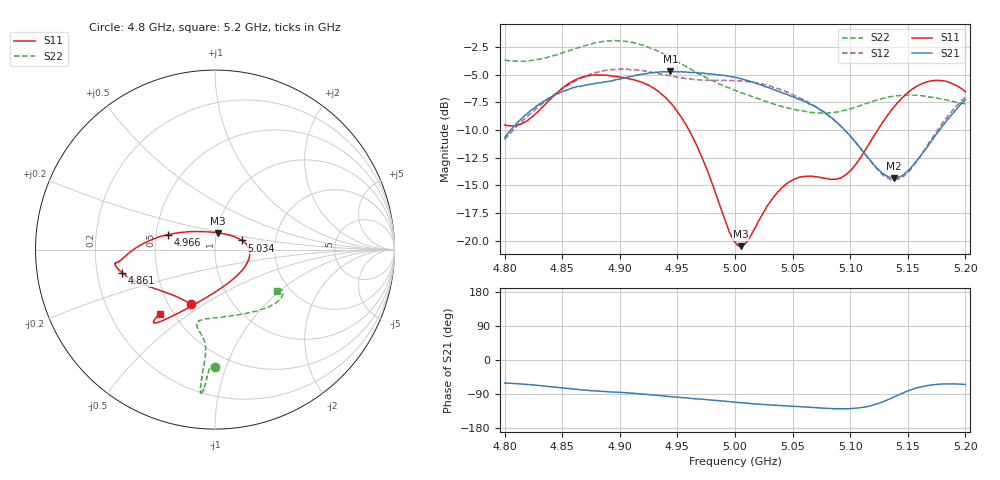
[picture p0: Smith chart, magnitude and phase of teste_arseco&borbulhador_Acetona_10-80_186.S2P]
! Network Analyzer HP8722D
! Hewlett-Packard
! Data name: Linha & Wilkinson
! Saver's name: Rodrigo Anjos
! Comments: Teste da utilização de aquisição
! continua pelo VNA HP8722D
! Time and date: 17/4/2025 15:54
!  Frequency  S11  S21  S12  S22
# HZ  S  MA R 50
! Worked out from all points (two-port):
!   401 points, 4.8 GHz to 5.2 GHz, reference 50 ohm
!   highest |S21| = -4.69 dB at 4.944 GHz (marker M1); lowest = -14.3 dB at 5.138 GHz (marker M2)
!   |S21| within 3 dB of the highest: 4.83 GHz to 5.066 GHz (236.5 MHz wide, 4.78 % of centre); 5.195773 GHz to end of sweep
!   lowest |S11| = -20.5 dB at 5.005 GHz (marker M3), VSWR 1.21, Z = 50.6 + j9.51 ohm
!   |S11| at or under -10 dB: 4.96 GHz to 5.124 GHz (163.7 MHz wide, 3.25 % of centre)
!   |S22| runs from -8.5 to -1.9 dB; largest |S21 - S12| = 0.88
!   S11 on the Smith chart (normalised r, x): 4.8 GHz: 0.64, -0.44; 4.861 GHz: 0.31, -0.11; 4.966 GHz: 0.58, +0.10; 5.034 GHz: 1.34, +0.14; 5.2 GHz: 0.42, -0.39
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4.8e9  0.3341 -113.8  0.2931 -60.9  0.2864 -175.1  0.6559 -90.2
4.819e9  0.3477 -133.9  0.3735 -64.5  0.3617 -173.9  0.6509 -91.7
4.861e9  0.5332 -165.8  0.4924 -77.2  0.5277 -177.2  0.7377 -94.0
4.867e9  0.5482 -168.2  0.5018 -79.0  0.5451 -178.2  0.7557 -94.2
4.9e9  0.5495 -172.6  0.5377 -85.4  0.5968 175.3  0.8011 -95.5
4.934e9  0.4718 -178.6  0.5783 -93.9  0.5707 171.6  0.7144 -96.0
4.944e9  0.4202 176.9  0.5831 -96.6  0.5568 171.7  0.6719 -95.6
4.966e9  0.2749 162.4  0.5768 -102.3  0.5346 173.6  0.5789 -95.2
5e9  0.09838 99.1  0.5479 -111.3  0.53 175.9  0.4783 -99.2
5.005e9  0.09434 81.1  0.5397 -112.6  0.528 175.8  0.4673 -100.4
5.012e9  0.1017 58.1  0.5276 -114.4  0.5231 175.7  0.4554 -101.8
5.034e9  0.158 18.9  0.4808 -119.2  0.4949 174.6  0.4145 -103.5
5.05e9  0.188 2.8  0.4482 -122.2  0.458 173.9  0.3939 -99.3
5.067e9  0.1958 -15.5  0.4108 -125.0  0.4129 173.5  0.38 -90.4
5.086e9  0.1894 -45.6  0.3521 -128.3  0.3505 173.6  0.3803 -76.0
5.097e9  0.1997 -68.0  0.309 -128.6  0.3098 174.7  0.3905 -67.0
5.134e9  0.3783 -117.1  0.1935 -103.2  0.1901 -156.1  0.4474 -43.0
5.138e9  0.4028 -119.4  0.1918 -97.6  0.1883 -149.8  0.4504 -41.2
5.151e9  0.4721 -125.1  0.2094 -80.6  0.2064 -130.0  0.4564 -36.6
5.17e9  0.5279 -129.4  0.2795 -66.2  0.2846 -112.4  0.4465 -32.1
5.184e9  0.524 -130.6  0.3507 -63.1  0.3621 -107.4  0.4325 -31.1
5.2e9  0.4717 -130.9  0.434 -64.6  0.4465 -106.7  0.4152 -33.6
